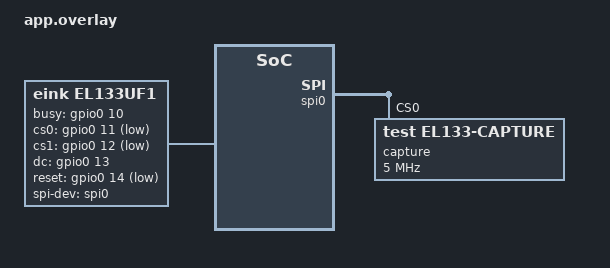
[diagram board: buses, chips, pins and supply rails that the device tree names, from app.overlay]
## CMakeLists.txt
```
# SPDX-License-Identifier: Apache-2.0
cmake_minimum_required(VERSION 3.20.0)

find_package(Zephyr REQUIRED HINTS $ENV{ZEPHYR_BASE})
project(el133_seq)

target_sources(app PRIVATE src/main.c src/capture_emul.c)
target_include_directories(app PRIVATE include)
```

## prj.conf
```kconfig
CONFIG_ZTEST=y
CONFIG_DISPLAY=y
CONFIG_SPI=y
CONFIG_SPI_EMUL=y
CONFIG_GPIO=y
CONFIG_GPIO_EMUL=y
CONFIG_EMUL=y
CONFIG_EL133UF1=y
CONFIG_SDL_DISPLAY=n
CONFIG_LOG=y
CONFIG_DISPLAY_LOG_LEVEL_WRN=y
CONFIG_MAIN_STACK_SIZE=16384
```

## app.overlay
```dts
/* SPDX-License-Identifier: Apache-2.0
 *
 * native_sim wiring for the EL133UF1 driver ztest:
 *   - el133uf1 panel node driven over the emulated SPI controller (spi0)
 *   - a capture emulator child at CS 0 records the command opcodes
 *   - BUSY declared PULL_UP so gpio_emul reads it HIGH (== ready), avoiding
 *     the driver's power-up wait from stalling boot.
 */
#include <zephyr/dt-bindings/gpio/gpio.h>

/* Local SDL headers are broken; this test is headless. */
&sdl_dc {
	status = "disabled";
};

&spi0 {
	status = "okay";
	#address-cells = <1>;
	#size-cells = <0>;

	capture: capture@0 {
		compatible = "test,el133-capture";
		reg = <0>;
		spi-max-frequency = <5000000>;
	};
};

/ {
	el133uf1: el133uf1 {
		compatible = "eink,el133uf1";
		status = "okay";
		spi-dev = <&spi0>;
		spi-max-frequency = <5000000>;
		busy-gpios = <&gpio0 10 (GPIO_ACTIVE_HIGH | GPIO_PULL_UP)>;
		cs0-gpios = <&gpio0 11 GPIO_ACTIVE_LOW>;
		cs1-gpios = <&gpio0 12 GPIO_ACTIVE_LOW>;
		dc-gpios = <&gpio0 13 GPIO_ACTIVE_HIGH>;
		reset-gpios = <&gpio0 14 GPIO_ACTIVE_LOW>;
		width = <1200>;
		height = <1600>;
	};
};
```

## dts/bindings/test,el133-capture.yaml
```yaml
# SPDX-License-Identifier: Apache-2.0
description: Test-only SPI capture emulator for the EL133UF1 driver ztest

compatible: "test,el133-capture"

include: spi-device.yaml
```

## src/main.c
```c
/* SPDX-License-Identifier: Apache-2.0
 *
 * Runtime verification of the recreated EL133UF1 driver on native_sim:
 *   1. the driver compiles/links and the device initialises over emulated SPI
 *      (proves epd_init_registers() ran without error),
 *   2. the power-up register opcodes are emitted in the reference order,
 *   3. a full-frame write emits DTM(x2) then PON,PON,DRF,POF,POF.
 */
#include <zephyr/ztest.h>
#include <zephyr/device.h>
#include <zephyr/devicetree.h>
#include <zephyr/drivers/display.h>
#include <zephyr/drivers/display/el133uf1.h>
#include <zephyr/sys/util.h>

#include "el133_capture.h"

#define DISP DEVICE_DT_GET(DT_NODELABEL(el133uf1))

/* Opcode order from el133uf1_epd_init() in the E Ink reference driver. */
static const uint8_t expected_init[] = {
	0x74, 0xF0, 0x00, 0xA5, 0xE6, 0x30, 0x50, 0x60, 0x03, 0x86,
	0xE3, 0xE0, 0x61, 0x01, 0xB6, 0x06, 0xB7, 0x05, 0xB0, 0xB1,
};

/* DTM(CS0), DTM(CS1), PON(CS0), PON(CS1), DRF(both), POF(CS0), POF(CS1). */
static const uint8_t expected_refresh[] = {0x10, 0x10, 0x04, 0x04, 0x12, 0x02, 0x02};

static uint8_t frame[EL133_PAYLOAD_BYTES];

ZTEST(el133_seq, test_sequences)
{
	const struct device *disp = DISP;
	struct el133_capture *cap = el133_capture_get();

	zassert_true(device_is_ready(disp),
		     "EL133 device not ready (init/epd_init_registers failed)");

	/* Power-up opcodes captured during POST_KERNEL device init. */
	zassert_true(cap->count >= ARRAY_SIZE(expected_init),
		     "captured only %u init opcodes, expected >= %u",
		     (unsigned)cap->count, (unsigned)ARRAY_SIZE(expected_init));
	for (size_t i = 0; i < ARRAY_SIZE(expected_init); i++) {
		zassert_equal(cap->opcodes[i], expected_init[i],
			      "init opcode[%u] = 0x%02x, expected 0x%02x",
			      (unsigned)i, cap->opcodes[i], expected_init[i]);
	}

	/* Full-frame write → load DTM halves, then run the refresh cycle. */
	struct display_buffer_descriptor desc = {
		.buf_size = sizeof(frame),
		.width = 1200,
		.height = 1600,
		.pitch = 1200,
	};

	el133_capture_reset();
	zassert_ok(display_write(disp, 0, 0, &desc, frame), "display_write failed");

	zassert_equal(cap->count, ARRAY_SIZE(expected_refresh),
		      "captured %u refresh opcodes, expected %u",
		      (unsigned)cap->count, (unsigned)ARRAY_SIZE(expected_refresh));
	for (size_t i = 0; i < ARRAY_SIZE(expected_refresh); i++) {
		zassert_equal(cap->opcodes[i], expected_refresh[i],
			      "refresh opcode[%u] = 0x%02x, expected 0x%02x",
			      (unsigned)i, cap->opcodes[i], expected_refresh[i]);
	}
}

ZTEST_SUITE(el133_seq, NULL, NULL, NULL, NULL, NULL);
```

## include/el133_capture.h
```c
/* SPDX-License-Identifier: Apache-2.0 */
#ifndef EL133_CAPTURE_H_
#define EL133_CAPTURE_H_

#include <stddef.h>
#include <stdint.h>

/* Command opcodes recorded by the capture emulator (DC low == command). */
struct el133_capture {
	uint8_t opcodes[64];
	size_t count;
};

struct el133_capture *el133_capture_get(void);
void el133_capture_reset(void);

#endif /* EL133_CAPTURE_H_ */
```

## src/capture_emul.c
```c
/* SPDX-License-Identifier: Apache-2.0
 *
 * SPI capture emulator: records the opcode of every command-phase transfer
 * (DC line low) issued by the EL133UF1 driver, so a ztest can assert the exact
 * power-up and refresh command sequences.
 */
#define DT_DRV_COMPAT test_el133_capture

#include <zephyr/device.h>
#include <zephyr/drivers/emul.h>
#include <zephyr/drivers/spi_emul.h>
#include <zephyr/drivers/gpio.h>
#include <zephyr/drivers/gpio/gpio_emul.h>
#include <zephyr/sys/util.h>

#include "el133_capture.h"

/* DC line of the panel node — low means the transfer carries a command byte. */
static const struct gpio_dt_spec dc =
	GPIO_DT_SPEC_GET(DT_NODELABEL(el133uf1), dc_gpios);

static struct el133_capture capture;

struct el133_capture *el133_capture_get(void)
{
	return &capture;
}

void el133_capture_reset(void)
{
	capture.count = 0;
}

static int capture_io(const struct emul *target, const struct spi_config *config,
		      const struct spi_buf_set *tx_bufs, const struct spi_buf_set *rx_bufs)
{
	ARG_UNUSED(target);
	ARG_UNUSED(config);
	ARG_UNUSED(rx_bufs);

	if (tx_bufs == NULL || tx_bufs->count == 0 || tx_bufs->buffers[0].len < 1) {
		return 0;
	}

	/* gpio_emul returns the raw output level; dc is active-high so 0 == command. */
	if (gpio_emul_output_get_dt(&dc) == 0) {
		if (capture.count < ARRAY_SIZE(capture.opcodes)) {
			capture.opcodes[capture.count++] =
				((const uint8_t *)tx_bufs->buffers[0].buf)[0];
		}
	}
	return 0;
}

static const struct spi_emul_api capture_api = {
	.io = capture_io,
};

static int capture_emul_init(const struct emul *target, const struct device *parent)
{
	ARG_UNUSED(target);
	ARG_UNUSED(parent);
	return 0;
}

/* Stub device so spi_emul's DT_FOREACH_CHILD / DEVICE_DT_GET resolves. */
static int capture_dev_init(const struct device *dev)
{
	ARG_UNUSED(dev);
	return 0;
}

/* After the SPI controller (CONFIG_SPI_INIT_PRIORITY=50) so the DT
 * parent/child init-order check passes. emul_init_for_bus only needs the
 * DEVICE object (link-time); it does not call this init function. */
DEVICE_DT_INST_DEFINE(0, capture_dev_init, NULL, NULL, NULL, POST_KERNEL, 51,
		      NULL);

EMUL_DT_INST_DEFINE(0, capture_emul_init, NULL, NULL, &capture_api, NULL)
```
